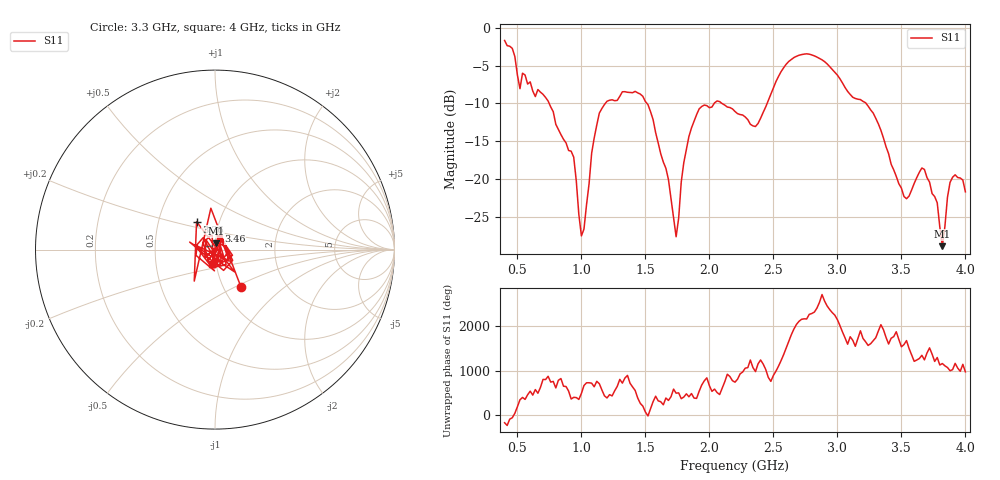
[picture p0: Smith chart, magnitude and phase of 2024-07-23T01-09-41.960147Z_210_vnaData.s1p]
!Created with skrf (http://scikit-rf.org).
# Hz S RI R 50.0
!freq ReS11 ImS11
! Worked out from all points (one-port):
!   181 points, 400 MHz to 4 GHz, reference 50 ohm
!   lowest |S11| = -28.9 dB at 3.82 GHz (marker M1), VSWR 1.07, Z = 50.2 + j3.6 ohm
!   |S11| at or under -10 dB: 748.3 MHz to 1.187 GHz (438.3 MHz wide, 45.3 % of centre); 1.512 GHz to 2.037 GHz (524.8 MHz wide, 29.6 % of centre); 3.224 GHz to end of sweep (the widest 3 of 4)
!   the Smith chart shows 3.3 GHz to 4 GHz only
!   S11 on the Smith chart (normalised r, x): 3.3 GHz: 1.21, -0.53; 3.36 GHz: 0.78, +0.25; 3.46 GHz: 1.02, +0.21; 4 GHz: 0.95, -0.15
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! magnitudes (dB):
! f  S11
! 400 MHz  -1.7
! 460 MHz  -2.7
! 520 MHz  -8.0
! 700 MHz  -8.8
! 860 MHz  -14.7
! 940 MHz  -17.1
! 1 GHz  -27.5
! 1.14 GHz  -11.3
! 1.3 GHz  -9.1
! 1.52 GHz  -10.2
! 1.68 GHz  -20.1
! 1.74 GHz  -27.6
! 1.76 GHz  -25.1
! 1.8 GHz  -17.8
! 1.92 GHz  -10.7
! 2.2 GHz  -11.1
! 2.36 GHz  -13.0
! 2.66 GHz  -3.9
! 3.1 GHz  -8.8
! 3.3 GHz  -12.0
! 3.36 GHz  -14.6
! 3.46 GHz  -19.6
! 3.56 GHz  -22.2
! 3.68 GHz  -18.7
! 3.78 GHz  -23.1
! 3.82 GHz  -28.9
! 3.88 GHz  -20.4
! 4 GHz  -21.7
